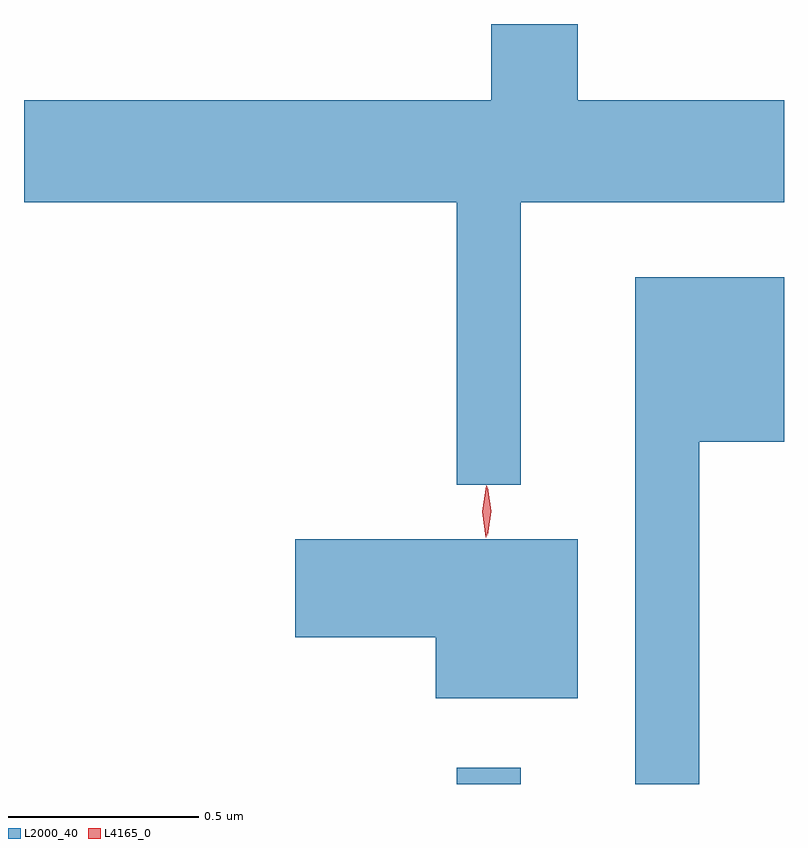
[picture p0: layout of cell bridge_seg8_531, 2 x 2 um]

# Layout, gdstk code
import gdstk
lib = gdstk.Library(unit=1e-6, precision=1e-09)
def R(c, l, rs):  # rectangles x0, y0, x1, y1
    for r in rs: c.add(gdstk.rectangle(r[:2], r[2:], *l))
def P(c, l, *ps):  # polygons
    for p in ps: c.add(gdstk.Polygon(p, *l))
L2000_40 = (2000, 40)
L4165_0 = (4165, 0)

bridge_seg8_531 = lib.new_cell('bridge_seg8_531')
R(bridge_seg8_531, L2000_40, [(283.061,1837.105,283.229,1837.148)])
P(bridge_seg8_531, L2000_40, [(283.229,1838.636),(283.922,1838.636),(283.922,1838.904),(283.379,1838.904),(283.379,1839.105),(283.151,1839.105),(283.151,1838.904),(281.922,1838.904),(281.922,1838.636),(283.061,1838.636),(283.061,1837.893),(283.229,1837.893)],
  [(283.699,1838.006),(283.922,1838.006),(283.922,1838.439),(283.531,1838.439),(283.531,1837.105),(283.699,1837.105)],
  [(283.379,1837.749),(282.636,1837.749),(282.636,1837.491),(283.006,1837.491),(283.006,1837.331),(283.379,1837.331)])
P(bridge_seg8_531, L4165_0, [(283.137,1837.754),(283.128,1837.822),(283.139,1837.89),(283.139,1837.89),(283.14,1837.89),(283.148,1837.822),(283.138,1837.754),(283.138,1837.754)],
  [(283.142,1837.76),(283.142,1837.76),(283.132,1837.823),(283.142,1837.886),(283.142,1837.887),(283.143,1837.886),(283.152,1837.823),(283.143,1837.76)])

lib.write_gds('bridge_seg8_531.gds')
